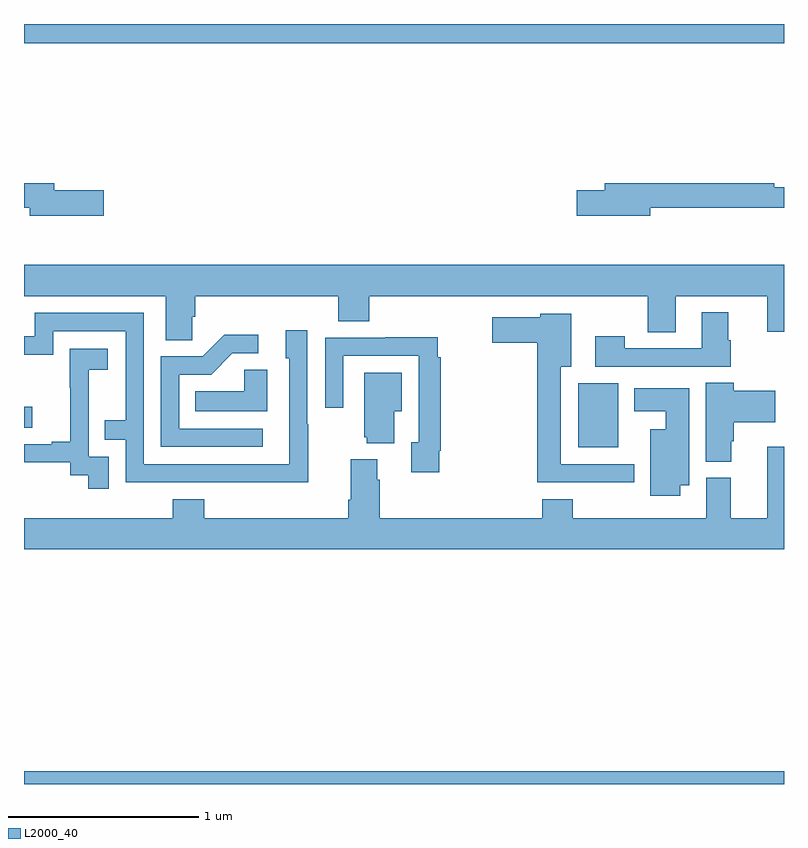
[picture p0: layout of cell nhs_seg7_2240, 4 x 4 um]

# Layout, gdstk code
import gdstk
lib = gdstk.Library(unit=1e-6, precision=1e-09)
def R(c, l, rs):  # rectangles x0, y0, x1, y1
    for r in rs: c.add(gdstk.rectangle(r[:2], r[2:], *l))
def P(c, l, *ps):  # polygons
    for p in ps: c.add(gdstk.Polygon(p, *l))
L2000_40 = (2000, 40)

nhs_seg7_2240 = lib.new_cell('nhs_seg7_2240')
R(nhs_seg7_2240, L2000_40, [(257,1046,261,1046.068), (259.916,1047.773,260.128,1048.108), (257,1047.876,257.044,1047.985), (257,1049.9,261,1050)])
P(nhs_seg7_2240, L2000_40, [(260.296,1049.034),(261,1049.034),(261,1049.142),(260.948,1049.142),(260.948,1049.162),(260.057,1049.162),(260.057,1049.126),(259.908,1049.126),(259.908,1048.991),(260.296,1048.991)],
  [(257.419,1049.126),(257.158,1049.126),(257.158,1049.162),(257,1049.162),(257,1049.034),(257.03,1049.034),(257.03,1048.991),(257.419,1048.991)],
  [(257.886,1048.459),(257.9,1048.459),(257.9,1048.568),(258.653,1048.568),(258.653,1048.435),(258.818,1048.435),(258.818,1048.568),(260.284,1048.568),(260.284,1048.378),(260.431,1048.378),(260.431,1048.568),(260.912,1048.568),(260.912,1048.38),(261,1048.38),(261,1048.732),(257,1048.732),(257,1048.568),(257.747,1048.568),(257.747,1048.336),(257.886,1048.336)],
  [(260.72,1048.335),(260.707,1048.335),(260.707,1048.483),(260.567,1048.483),(260.567,1048.293),(260.163,1048.293),(260.163,1048.357),(260.007,1048.357),(260.007,1048.197),(260.72,1048.197)],
  [(258.495,1047.893),(258.492,1047.893),(258.492,1048.387),(258.377,1048.387),(258.377,1048.242),(258.396,1048.242),(258.396,1047.684),(257.631,1047.684),(257.631,1048.479),(257.057,1048.479),(257.057,1048.356),(257,1048.356),(257,1048.26),(257.154,1048.26),(257.154,1048.383),(257.535,1048.383),(257.535,1047.914),(257.425,1047.914),(257.425,1047.813),(257.535,1047.813),(257.535,1047.588),(258.031,1047.588),(258.031,1047.587),(258.495,1047.587)],
  [(260.212,1047.684),(259.825,1047.684),(259.825,1048.196),(259.879,1048.196),(259.879,1048.474),(259.716,1048.474),(259.716,1048.456),(259.464,1048.456),(259.464,1048.322),(259.7,1048.322),(259.7,1047.587),(260.212,1047.587)],
  [(258.256,1047.87),(257.817,1047.87),(257.817,1048.155),(257.986,1048.155),(258.097,1048.266),(258.232,1048.266),(258.232,1048.364),(258.053,1048.364),(257.94,1048.251),(257.721,1048.251),(257.721,1047.774),(258.256,1047.774)],
  [(259.186,1047.754),(259.193,1047.754),(259.193,1048.247),(259.178,1048.247),(259.178,1048.352),(258.901,1048.352),(258.901,1048.35),(258.585,1048.35),(258.585,1047.981),(258.681,1047.981),(258.681,1048.254),(259.077,1048.254),(259.077,1047.798),(259.037,1047.798),(259.037,1047.642),(259.186,1047.642)],
  [(257.445,1047.723),(257.34,1047.723),(257.34,1047.953),(257.342,1047.953),(257.342,1048.181),(257.44,1048.181),(257.44,1048.291),(257.242,1048.291),(257.242,1048.085),(257.243,1048.085),(257.243,1047.802),(257.147,1047.802),(257.147,1047.789),(257,1047.789),(257,1047.693),(257.244,1047.693),(257.244,1047.625),(257.337,1047.625),(257.337,1047.555),(257.445,1047.555)],
  [(258.28,1048.181),(258.159,1048.181),(258.159,1048.066),(257.902,1048.066),(257.902,1047.962),(258.28,1047.962)],
  [(258.949,1047.962),(258.988,1047.962),(258.988,1048.165),(258.791,1048.165),(258.791,1047.825),(258.803,1047.825),(258.803,1047.794),(258.949,1047.794)],
  [(260.722,1047.805),(260.735,1047.805),(260.735,1047.905),(260.953,1047.905),(260.953,1048.071),(260.735,1048.071),(260.735,1048.112),(260.588,1048.112),(260.588,1047.697),(260.722,1047.697)],
  [(260.455,1047.572),(260.5,1047.572),(260.5,1048.084),(260.213,1048.084),(260.213,1047.962),(260.378,1047.962),(260.378,1047.868),(260.297,1047.868),(260.297,1047.516),(260.455,1047.516)],
  [(261,1047.775),(260.912,1047.775),(260.912,1047.4),(260.719,1047.4),(260.719,1047.612),(260.591,1047.612),(260.591,1047.4),(259.887,1047.4),(259.887,1047.499),(259.727,1047.499),(259.727,1047.4),(258.872,1047.4),(258.872,1047.602),(258.859,1047.602),(258.859,1047.709),(258.719,1047.709),(258.719,1047.496),(258.707,1047.496),(258.707,1047.4),(257.948,1047.4),(257.948,1047.499),(257.783,1047.499),(257.783,1047.4),(257,1047.4),(257,1047.236),(261,1047.236)])

lib.write_gds('nhs_seg7_2240.gds')
